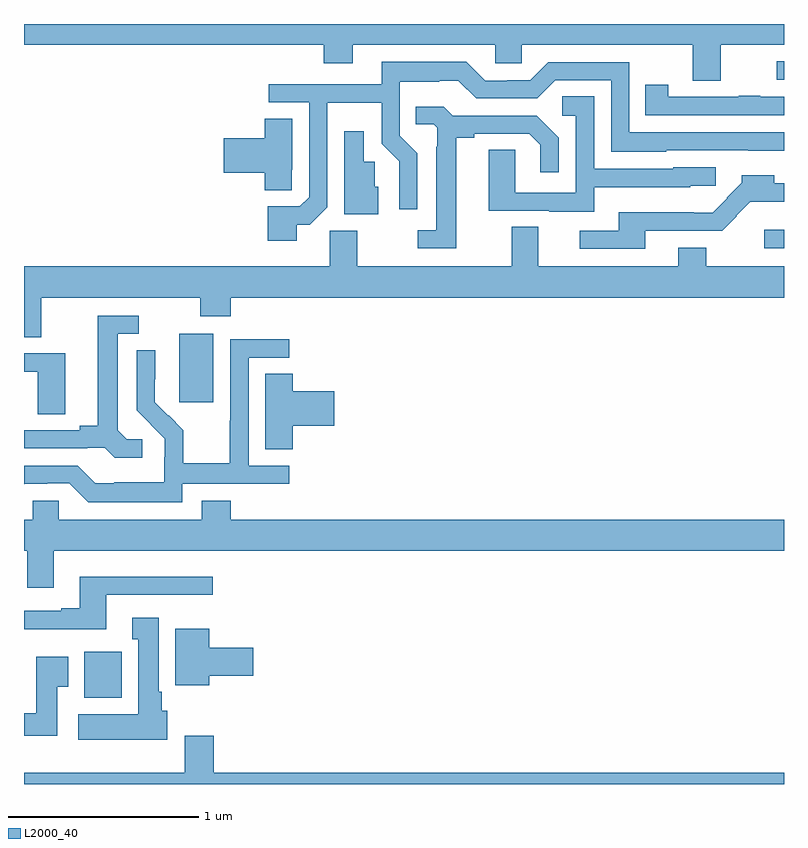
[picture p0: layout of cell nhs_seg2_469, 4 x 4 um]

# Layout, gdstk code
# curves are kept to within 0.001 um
import gdstk
lib = gdstk.Library(unit=1e-6, precision=1e-09)
def R(c, l, rs):  # rectangles x0, y0, x1, y1
    for r in rs: c.add(gdstk.rectangle(r[:2], r[2:], *l))
def P(c, l, *ps):  # polygons
    for p in ps: c.add(gdstk.Polygon(p, *l))
L2000_40 = (2000, 40)

nhs_seg2_469 = lib.new_cell('nhs_seg2_469')
R(nhs_seg2_469, L2000_40, [(135.317,588.254,135.514,588.496), (135.818,589.809,135.997,590.17), (138.897,590.619,139,590.716), (138.963,591.507,139,591.603)])
P(nhs_seg2_469, L2000_40, [(138.667,591.692),(139,591.692),(139,591.8),(135,591.8),(135,591.692),(136.577,591.692),(136.577,591.593),(136.729,591.593),(136.729,591.692),(137.481,591.692),(137.481,591.594),(137.619,591.594),(137.619,591.692),(138.52,591.692),(138.52,591.502),(138.667,591.502)],
  [(136.435,590.743),(136.503,590.743),(136.596,590.835),(136.596,591.386),(136.884,591.386),(136.884,591.17),(136.976,591.078),(136.976,590.826),(137.07,590.826),(137.07,591.12),(136.977,591.213),(136.977,591.497),(137.186,591.497),(137.186,591.501),(137.286,591.501),(137.379,591.408),(137.7,591.408),(137.796,591.504),(138.09,591.504),(138.09,591.128),(138.381,591.128),(138.381,591.135),(139,591.134),(139,591.231),(138.186,591.231),(138.186,591.6),(137.76,591.6),(137.664,591.504),(137.544,591.504),(137.544,591.501),(137.427,591.501),(137.327,591.601),(136.883,591.601),(136.883,591.483),(136.287,591.483),(136.287,591.387),(136.5,591.387),(136.5,590.889),(136.452,590.841),(136.283,590.841),(136.283,590.658),(136.435,590.658)],
  [(139,591.417),(138.875,591.417),(138.875,591.422),(138.763,591.422),(138.763,591.417),(138.39,591.417),(138.39,591.481),(138.271,591.481),(138.271,591.321),(139,591.321)],
  [(138.001,590.942),(138.507,590.942),(138.507,590.949),(138.642,590.949),(138.642,591.045),(138.417,591.045),(138.417,591.039),(138,591.039),(138,591.419),(137.832,591.419),(137.832,591.318),(137.904,591.318),(137.904,590.913),(137.586,590.913),(137.586,591.137),(137.447,591.137),(137.447,590.817),(137.765,590.817),(137.765,590.813),(138.001,590.813)],
  [(137.275,591.202),(137.371,591.202),(137.371,591.222),(137.66,591.222),(137.717,591.165),(137.717,591.021),(137.814,591.021),(137.814,591.202),(137.698,591.318),(137.256,591.318),(137.208,591.365),(137.062,591.365),(137.062,591.273),(137.157,591.273),(137.175,591.255),(137.175,591.155),(137.171,591.155),(137.171,590.715),(137.073,590.715),(137.073,590.619),(137.275,590.619)],
  [(136.41,591.034),(136.411,591.034),(136.411,591.302),(136.268,591.302),(136.268,591.2),(136.05,591.2),(136.05,591.017),(136.268,591.017),(136.268,590.926),(136.41,590.926)],
  [(136.864,590.943),(136.845,590.943),(136.845,591.075),(136.789,591.075),(136.789,591.235),(136.685,591.235),(136.685,590.798),(136.864,590.798)],
  [(138.271,590.712),(138.675,590.712),(138.751,590.789),(138.749,590.791),(138.823,590.865),(139,590.864),(139,590.961),(138.949,590.961),(138.949,591.004),(138.778,591.004),(138.778,590.965),(138.699,590.886),(138.702,590.883),(138.626,590.807),(138.524,590.807),(138.524,590.809),(138.131,590.809),(138.131,590.712),(137.925,590.712),(137.925,590.616),(138.271,590.616)],
  [(135.091,590.36),(135.928,590.36),(135.928,590.261),(136.088,590.261),(136.088,590.36),(139,590.36),(139,590.524),(138.591,590.524),(138.591,590.623),(138.443,590.623),(138.443,590.524),(137.707,590.524),(137.707,590.732),(137.567,590.732),(137.567,590.524),(136.755,590.524),(136.755,590.713),(136.608,590.713),(136.608,590.524),(135,590.524),(135,590.152),(135.091,590.152)],
  [(135.622,589.614),(135.54,589.614),(135.493,589.661),(135.493,590.169),(135.604,590.169),(135.604,590.265),(135.389,590.265),(135.389,589.685),(135.293,589.685),(135.293,589.662),(135,589.662),(135,589.566),(135.332,589.566),(135.332,589.569),(135.426,589.569),(135.478,589.517),(135.622,589.517)],
  [(135.834,589.38),(136.396,589.38),(136.396,589.476),(136.182,589.476),(136.182,590.043),(136.396,590.043),(136.396,590.142),(136.086,590.142),(136.086,589.712),(136.084,589.712),(136.084,589.489),(135.839,589.489),(135.839,589.663),(135.762,589.74),(135.759,589.737),(135.689,589.808),(135.69,590.084),(135.594,590.084),(135.594,589.766),(135.74,589.618),(135.74,589.521),(135.738,589.521),(135.738,589.387),(135.475,589.387),(135.475,589.383),(135.375,589.383),(135.282,589.476),(135,589.476),(135,589.377),(135.003,589.38),(135.122,589.38),(135.122,589.383),(135.237,589.383),(135.337,589.283),(135.834,589.283)],
  [(135.217,590.067),(135,590.067),(135,589.971),(135.072,589.971),(135.072,589.747),(135.217,589.747)],
  [(136.415,589.685),(136.633,589.685),(136.633,589.868),(136.415,589.868),(136.415,589.958),(136.271,589.958),(136.271,589.561),(136.415,589.561)],
  [(135.157,589.028),(139,589.028),(139,589.192),(136.088,589.192),(136.088,589.291),(135.935,589.291),(135.935,589.192),(135.183,589.192),(135.183,589.29),(135.045,589.29),(135.045,589.192),(135,589.192),(135,589.028),(135.017,589.028),(135.017,588.834),(135.157,588.834)],
  [(135.433,588.795),(135.994,588.795),(135.994,588.892),(135.293,588.892),(135.293,588.724),(135.197,588.724),(135.197,588.711),(135,588.711),(135,588.614),(135.433,588.614)],
  [(135.754,588.186),(135.724,588.186),(135.724,588.286),(135.709,588.286),(135.709,588.676),(135.569,588.676),(135.569,588.563),(135.602,588.563),(135.602,588.166),(135.285,588.166),(135.285,588.032),(135.754,588.032)],
  [(135.976,588.371),(136.207,588.371),(136.207,588.518),(135.976,588.518),(135.976,588.616),(135.797,588.616),(135.797,588.32),(135.976,588.32)],
  [(135.175,588.313),(135.232,588.313),(135.232,588.469),(135.065,588.469),(135.065,588.172),(135,588.172),(135,588.054),(135.175,588.054)],
  [(139,587.86),(135.998,587.86),(135.998,588.055),(135.845,588.055),(135.845,587.86),(135,587.86),(135,587.8),(139,587.8)])

lib.write_gds('nhs_seg2_469.gds')
